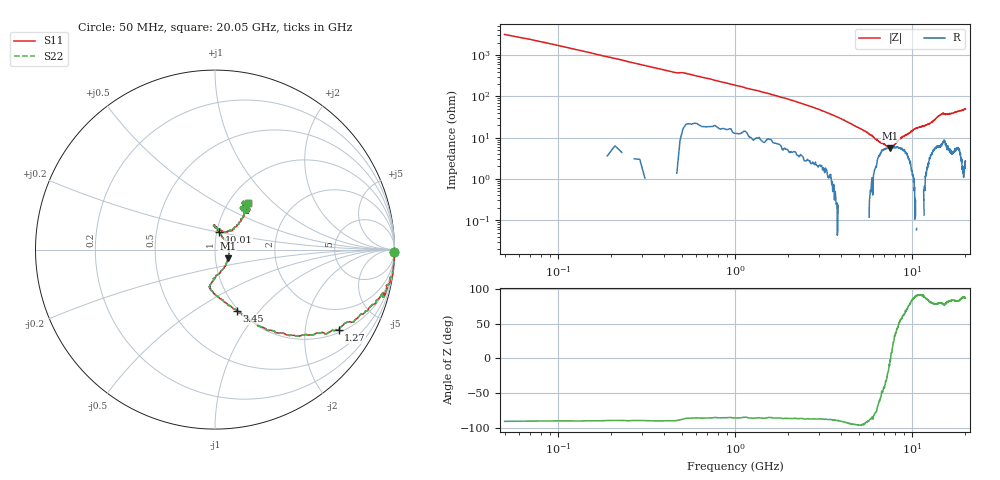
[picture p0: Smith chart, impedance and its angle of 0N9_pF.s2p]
! 500R07S0R9BV4
! Data taken April 11, 2003
! Data taken on a HP 8720C VNA using a series-through test fixture and TRL* de-embedding
#	mhz	s	ma	r	50
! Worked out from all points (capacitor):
!   1001 points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, 50 MHz to 20.05 GHz, reference 50 ohm
!   read as one part in series: C = 915 fF near 150 MHz
!   lowest |Z| = 5.5 ohm at 7.55 GHz (marker M1)
!   series resonance near 7.584 GHz, so ESL is about 480 pH
!   S11 on the Smith chart (normalised r, x): 50 MHz: open; 1.27 GHz: 1.09, -3.01; 3.45 GHz: 0.98, -0.77; 10.01 GHz: 1.03, +0.20; 20.05 GHz: 1.23, +0.70
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50  1 -0.9  0.03153 90.1  0.03153 90.1  1 -0.9
230  1 -7.2  0.1313 82.4  0.1313 82.4  1 -7.2
390  0.9801 -13.6  0.2192 76.6  0.2192 76.6  0.9801 -13.6
810  0.9167 -21.2  0.3947 64.4  0.3947 64.4  0.9167 -21.2
1270  0.8217 -33.0  0.5676 52.9  0.5676 52.9  0.8217 -33.0
2310  0.5767 -53.5  0.8042 33.0  0.8042 33.0  0.5767 -53.5
3390  0.3711 -69.7  0.9095 19.9  0.9095 19.9  0.3711 -69.7
3450  0.3622 -70.5  0.9124 19.2  0.9124 19.2  0.3622 -70.5
4990  0.2166 -97.4  0.9544 7.9  0.9544 7.9  0.2166 -97.4
6730  0.1188 -68.2  0.9488 -0.3  0.9488 -0.3  0.1188 -68.2
7550  0.08541 -33.9  0.9676 -2.4  0.9676 -2.4  0.08541 -33.9
7970  0.07933 -9.4  0.9716 -4.7  0.9716 -4.7  0.07933 -9.4
9470  0.07966 53.3  0.9695 -9.0  0.9695 -9.0  0.07966 53.3
10010  0.1011 76.6  0.9688 -10.9  0.9688 -10.9  0.1011 76.6
10050  0.1021 79.0  0.9673 -10.6  0.9673 -10.6  0.1021 79.0
10430  0.12 88.1  0.9642 -11.9  0.9642 -11.9  0.12 88.1
11110  0.1367 92.3  0.9642 -13.4  0.9642 -13.4  0.1367 92.3
12430  0.109 65.2  0.9624 -17.7  0.9624 -17.7  0.109 65.2
13390  0.1658 48.6  0.9514 -20.7  0.9514 -20.7  0.1658 48.6
14850  0.2837 50.3  0.9061 -24.3  0.9061 -24.3  0.2837 50.3
16730  0.2735 58.5  0.9082 -25.8  0.9082 -25.8  0.2735 58.5
20050  0.3156 54.6  0.8716 -36.9  0.8716 -36.9  0.3156 54.6
